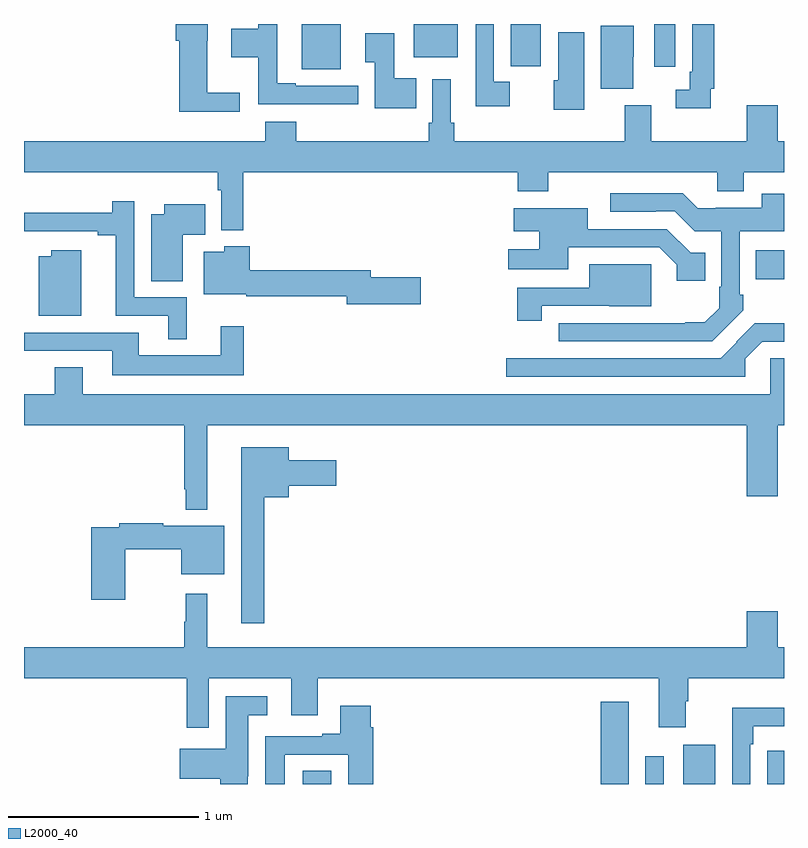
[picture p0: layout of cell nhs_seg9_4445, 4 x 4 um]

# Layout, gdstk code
import gdstk
lib = gdstk.Library(unit=1e-6, precision=1e-09)
def R(c, l, rs):  # rectangles x0, y0, x1, y1
    for r in rs: c.add(gdstk.rectangle(r[:2], r[2:], *l))
def P(c, l, *ps):  # polygons
    for p in ps: c.add(gdstk.Polygon(p, *l))
L2000_40 = (2000, 40)

nhs_seg9_4445 = lib.new_cell('nhs_seg9_4445')
R(nhs_seg9_4445, L2000_40, [(366.467,1226.5,366.616,1226.57), (368.036,1226.5,368.182,1226.932), (368.271,1226.5,368.367,1226.647), (368.471,1226.5,368.638,1226.707), (368.851,1229.156,369,1229.308), (366.461,1230.263,366.667,1230.5), (368.316,1230.276,368.428,1230.5), (367.562,1230.277,367.72,1230.5), (367.052,1230.326,367.282,1230.5)])
P(nhs_seg9_4445, L2000_40, [(366.136,1230.137),(365.965,1230.137),(365.965,1230.411),(365.968,1230.411),(365.968,1230.5),(365.798,1230.5),(365.798,1230.411),(365.816,1230.411),(365.816,1230.038),(366.136,1230.038)],
  [(366.76,1230.174),(366.43,1230.174),(366.43,1230.187),(366.333,1230.187),(366.333,1230.5),(366.232,1230.5),(366.232,1230.474),(366.09,1230.474),(366.09,1230.326),(366.232,1230.326),(366.232,1230.078),(366.517,1230.078),(366.517,1230.077),(366.76,1230.077)],
  [(368.615,1230.16),(368.633,1230.16),(368.633,1230.5),(368.517,1230.5),(368.517,1230.25),(368.505,1230.25),(368.505,1230.153),(368.43,1230.153),(368.43,1230.056),(368.615,1230.056)],
  [(367.556,1230.196),(367.473,1230.196),(367.473,1230.5),(367.377,1230.5),(367.377,1230.068),(367.556,1230.068)],
  [(368.206,1230.327),(368.208,1230.327),(368.208,1230.492),(368.036,1230.492),(368.036,1230.158),(368.206,1230.158)],
  [(367.948,1230.457),(367.811,1230.457),(367.811,1230.204),(367.787,1230.204),(367.787,1230.05),(367.948,1230.05)],
  [(367.064,1230.214),(366.949,1230.214),(366.949,1230.451),(366.795,1230.451),(366.795,1230.298),(366.845,1230.298),(366.845,1230.056),(367.064,1230.056)],
  [(366.155,1229.72),(367.598,1229.72),(367.598,1229.621),(367.758,1229.621),(367.758,1229.72),(368.648,1229.72),(368.648,1229.621),(368.788,1229.621),(368.788,1229.72),(369,1229.72),(369,1229.884),(368.968,1229.884),(368.968,1230.073),(368.804,1230.073),(368.804,1229.884),(368.302,1229.884),(368.302,1230.073),(368.162,1230.073),(368.162,1229.884),(367.265,1229.884),(367.265,1229.98),(367.246,1229.98),(367.246,1230.208),(367.149,1230.208),(367.149,1229.98),(367.129,1229.98),(367.129,1229.884),(366.434,1229.884),(366.434,1229.986),(366.269,1229.986),(366.269,1229.884),(365,1229.884),(365,1229.72),(366.019,1229.72),(366.019,1229.624),(366.039,1229.624),(366.039,1229.414),(366.155,1229.414)],
  [(368.786,1228.993),(368.786,1229.074),(368.766,1229.074),(368.766,1229.408),(369,1229.408),(369,1229.607),(368.882,1229.607),(368.882,1229.533),(368.641,1229.533),(368.641,1229.529),(368.547,1229.529),(368.468,1229.608),(368.085,1229.608),(368.085,1229.511),(368.324,1229.511),(368.324,1229.514),(368.424,1229.514),(368.529,1229.409),(368.67,1229.409),(368.67,1229.116),(368.66,1229.116),(368.66,1229.004),(368.584,1228.929),(368.48,1228.929),(368.48,1228.926),(367.815,1228.926),(367.815,1228.83),(368.623,1228.83)],
  [(365.857,1229.061),(365.58,1229.061),(365.58,1229.566),(365.464,1229.566),(365.464,1229.507),(365,1229.507),(365,1229.409),(365.387,1229.409),(365.387,1229.389),(365.483,1229.389),(365.483,1228.965),(365.759,1228.965),(365.759,1228.841),(365.857,1228.841)],
  [(365.836,1229.39),(365.954,1229.39),(365.954,1229.551),(365.738,1229.551),(365.738,1229.5),(365.669,1229.5),(365.669,1229.146),(365.836,1229.146)],
  [(368.585,1229.296),(368.508,1229.296),(368.383,1229.421),(367.966,1229.421),(367.966,1229.53),(367.578,1229.53),(367.578,1229.408),(367.712,1229.408),(367.712,1229.314),(367.548,1229.314),(367.548,1229.21),(367.864,1229.21),(367.864,1229.325),(368.343,1229.325),(368.435,1229.233),(368.435,1229.148),(368.585,1229.148)],
  [(367.087,1229.168),(366.826,1229.168),(366.826,1229.204),(366.188,1229.204),(366.188,1229.329),(366.054,1229.329),(366.054,1229.302),(365.945,1229.302),(365.945,1229.078),(366.171,1229.078),(366.171,1229.068),(366.698,1229.068),(366.698,1229.026),(367.087,1229.026)],
  [(365.302,1229.308),(365.144,1229.308),(365.144,1229.278),(365.078,1229.278),(365.078,1228.964),(365.302,1228.964)],
  [(367.726,1229.016),(368.08,1229.016),(368.08,1229.015),(368.302,1229.015),(368.302,1229.236),(367.976,1229.236),(367.976,1229.112),(367.596,1229.112),(367.596,1228.938),(367.726,1228.938)],
  [(368.796,1228.737),(368.886,1228.827),(369,1228.827),(369,1228.926),(368.847,1228.926),(368.749,1228.828),(368.752,1228.825),(368.667,1228.74),(367.539,1228.74),(367.539,1228.644),(368.796,1228.644)],
  [(366.157,1228.909),(366.035,1228.909),(366.035,1228.756),(365.605,1228.756),(365.605,1228.875),(365,1228.875),(365,1228.779),(365.465,1228.779),(365.465,1228.652),(366.157,1228.652)],
  [(365.965,1228.388),(368.804,1228.388),(368.804,1228.014),(368.968,1228.014),(368.968,1228.388),(369,1228.388),(369,1228.742),(368.928,1228.742),(368.928,1228.552),(365.308,1228.552),(365.308,1228.694),(365.161,1228.694),(365.161,1228.552),(365,1228.552),(365,1228.388),(365.844,1228.388),(365.844,1228.051),(365.85,1228.051),(365.85,1227.944),(365.965,1227.944)],
  [(366.265,1228.01),(366.394,1228.01),(366.394,1228.07),(366.643,1228.07),(366.643,1228.204),(366.394,1228.204),(366.394,1228.273),(366.143,1228.273),(366.143,1227.345),(366.265,1227.345)],
  [(365.532,1227.736),(365.828,1227.736),(365.828,1227.605),(366.055,1227.605),(366.055,1227.859),(365.732,1227.859),(365.732,1227.872),(365.5,1227.872),(365.5,1227.852),(365.354,1227.852),(365.354,1227.471),(365.532,1227.471)],
  [(365.973,1227.056),(366.407,1227.056),(366.407,1226.862),(366.547,1226.862),(366.547,1227.056),(368.342,1227.056),(368.342,1226.799),(368.482,1226.799),(368.482,1226.936),(368.495,1226.936),(368.495,1227.056),(369,1227.056),(369,1227.22),(368.968,1227.22),(368.968,1227.409),(368.804,1227.409),(368.804,1227.22),(365.965,1227.22),(365.965,1227.502),(365.851,1227.502),(365.851,1227.353),(365.844,1227.353),(365.844,1227.22),(365,1227.22),(365,1227.056),(365.857,1227.056),(365.857,1226.796),(365.973,1226.796)],
  [(366.177,1226.542),(366.181,1226.542),(366.181,1226.861),(366.28,1226.861),(366.28,1226.962),(366.062,1226.962),(366.062,1226.686),(365.82,1226.686),(365.82,1226.528),(366.032,1226.528),(366.032,1226.5),(366.177,1226.5)],
  [(366.373,1226.655),(366.707,1226.655),(366.707,1226.5),(366.839,1226.5),(366.839,1226.798),(366.826,1226.798),(366.826,1226.911),(366.665,1226.911),(366.665,1226.764),(366.569,1226.764),(366.569,1226.751),(366.269,1226.751),(366.269,1226.5),(366.373,1226.5)],
  [(368.823,1226.708),(368.839,1226.708),(368.839,1226.804),(369,1226.804),(369,1226.902),(368.727,1226.902),(368.727,1226.5),(368.823,1226.5)],
  [(369,1226.674),(368.913,1226.674),(368.913,1226.561),(368.912,1226.561),(368.912,1226.5),(369,1226.5)])

lib.write_gds('nhs_seg9_4445.gds')
